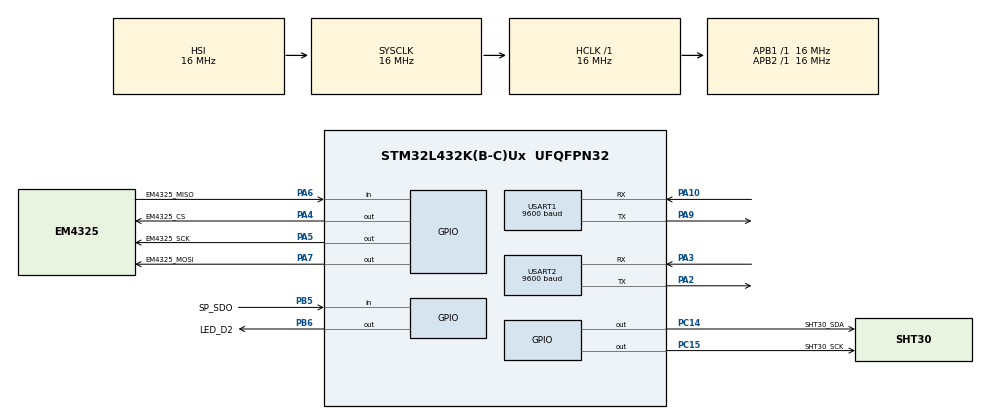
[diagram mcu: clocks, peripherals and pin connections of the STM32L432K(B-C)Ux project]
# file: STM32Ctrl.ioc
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Mcu.Family=STM32L4
Mcu.Name=STM32L432K(B-C)Ux
Mcu.Package=UFQFPN32
NVIC.PriorityGroup=NVIC_PRIORITYGROUP_4
NVIC.TIM6_DAC_IRQn=true\:0\:0\:false\:false\:true\:true\:true\:true
NVIC.USART1_IRQn=true\:0\:0\:false\:false\:true\:true\:true\:true
NVIC.USART2_IRQn=true\:0\:0\:false\:false\:true\:true\:true\:true
PA10.Mode=Asynchronous
PA10.Signal=USART1_RX
PA13\ (JTMS-SWDIO).Mode=Serial_Wire
PA13\ (JTMS-SWDIO).Signal=SYS_JTMS-SWDIO
PA14\ (JTCK-SWCLK).Mode=Serial_Wire
PA14\ (JTCK-SWCLK).Signal=SYS_JTCK-SWCLK
PA2.Mode=Asynchronous
PA2.Signal=USART2_TX
PA3.Mode=Asynchronous
PA3.Signal=USART2_RX
PA4.GPIO_Label=EM4325_CS
PA4.GPIO_PuPd=GPIO_PULLUP
PA4.PinState=GPIO_PIN_SET
PA4.Signal=GPIO_Output
PA5.GPIO_Label=EM4325_SCK
PA5.GPIO_PuPd=GPIO_PULLUP
PA5.PinState=GPIO_PIN_SET
PA5.Signal=GPIO_Output
PA6.GPIO_Label=EM4325_MISO
PA6.GPIO_PuPd=GPIO_PULLUP
PA6.Signal=GPIO_Input
PA7.GPIO_Label=EM4325_MOSI
PA7.GPIO_PuPd=GPIO_PULLUP
PA7.Signal=GPIO_Output
PA9.Mode=Asynchronous
PA9.Signal=USART1_TX
PB5.GPIO_Label=SP_SDO
PB5.GPIO_PuPd=GPIO_PULLUP
PB5.Signal=GPIO_Input
PB6.GPIO_Label=LED_D2
PB6.GPIO_PuPd=GPIO_PULLUP
PB6.Signal=GPIO_Output
PC14-OSC32_IN\ (PC14).GPIO_Label=SHT30_SDA
PC14-OSC32_IN\ (PC14).GPIO_ModeDefaultOutputPP=GPIO_MODE_OUTPUT_OD
PC14-OSC32_IN\ (PC14).GPIO_PuPd=GPIO_PULLUP
PC14-OSC32_IN\ (PC14).PinState=GPIO_PIN_SET
PC14-OSC32_IN\ (PC14).Signal=GPIO_Output
PC15-OSC32_OUT\ (PC15).GPIO_Label=SHT30_SCK
PC15-OSC32_OUT\ (PC15).Signal=GPIO_Output
ProjectManager.HeapSize=0x200
ProjectManager.StackSize=0x400
ProjectManager.TargetToolchain=MDK-ARM V5.32
RCC.ADCFreq_Value=16000000
RCC.AHBFreq_Value=16000000
RCC.APB1Freq_Value=16000000
RCC.APB1TimFreq_Value=16000000
RCC.APB2Freq_Value=16000000
RCC.APB2TimFreq_Value=16000000
RCC.CortexFreq_Value=16000000
RCC.HCLKFreq_Value=16000000
RCC.HSE_VALUE=8000000
RCC.HSI48_VALUE=48000000
RCC.HSI_VALUE=16000000
RCC.LSE_VALUE=32768
RCC.MSI_VALUE=4000000
RCC.SYSCLKFreq_VALUE=16000000
RCC.SYSCLKSource=RCC_SYSCLKSOURCE_HSI
RCC.USBFreq_Value=16000000
RCC.VCOOutputFreq_Value=32000000
TIM6.AutoReloadPreload=TIM_AUTORELOAD_PRELOAD_ENABLE
TIM6.Period=19
TIM6.Prescaler=15999
USART1.BaudRate=9600
USART1.VirtualMode-Asynchronous=VM_ASYNC
USART2.BaudRate=9600
USART2.VirtualMode-Asynchronous=VM_ASYNC
VP_TIM6_VS_ClockSourceINT.Mode=Enable_Timer
board=custom

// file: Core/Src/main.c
/* USER CODE BEGIN Header */
/**
  ******************************************************************************
  * @file           : main.c
  * @brief          : Main program body
  ******************************************************************************
  * @attention
  *
  * Copyright (c) 2024 STMicroelectronics.
  * All rights reserved.
  *
  * This software is licensed under terms that can be found in the LICENSE file
  * in the root directory of this software component.
  * If no LICENSE file comes with this software, it is provided AS-IS.
  *
  ******************************************************************************
  */
/* USER CODE END Header */
#include "main.h"
#include "tim.h"
#include "usart.h"
#include "gpio.h"

/* USER CODE BEGIN Includes */
#include "SHT3X.h"

/* USER CODE END Includes */

void SystemClock_Config(void);

/* USER CODE BEGIN 0 */
uint8_t UART2_Code_GetkPa[4] = {0x55, 0x04, 0x0d, 0x88};
uint8_t UART1_ReceiveFinish = 0;
uint8_t UART2_ReceiveFinish = 0;
uint8_t UART1_ReceiveCount = 0;
uint8_t UART2_ReceiveCount = 0;
uint8_t UART1_ReceiveBuf[10];
uint8_t UART2_ReceiveBuf[10];
uint16_t Time6Count = 0;

void HAL_UART_RxCpltCallback(UART_HandleTypeDef *huart)
{
	if (huart == &huart1)
	{
		UART1_ReceiveCount++;
		if(UART1_ReceiveCount >=5)
		{
			UART1_ReceiveFinish = 1;
			UART1_ReceiveCount = 0;
		}

//		UART1_ReceiveCount = 0;
//		HAL_UART_Transmit(&huart2, &UART1_ReceiveBuf[UART1_ReceiveCount], 1, 0xFFFF);
		HAL_UART_Receive_IT(&huart1, &UART1_ReceiveBuf[UART1_ReceiveCount], 1);
	}
	else if (huart == &huart2)
	{
		UART2_ReceiveCount++;
		if(UART2_ReceiveCount >= 8)
		{
			UART2_ReceiveFinish = 1;
			UART2_ReceiveCount = 0;
		}

//		UART2_ReceiveCount = 0;
//		HAL_UART_Transmit(&huart1, &UART2_ReceiveBuf[UART2_ReceiveCount], 1, 0xFFFF);
		HAL_UART_Receive_IT(&huart2, &UART2_ReceiveBuf[UART2_ReceiveCount], 1);
	}
}

void HAL_TIM_PeriodElapsedCallback(TIM_HandleTypeDef *htim)
{
	if(htim->Instance == TIM6)
	{
		Time6Count++;
	}
}

void SendFloatData(float TempValue)
{
	uint8_t DataBuf[6];
	if(TempValue >= 1000)
	{
		DataBuf[0] = (uint8_t)(((int)(TempValue) / 1000) + 0x30);
		DataBuf[1] = (uint8_t)(((int)(TempValue) / 100) + 0x30);
		DataBuf[2] = (uint8_t)((((int)(TempValue) % 100) / 10) + 0x30);
		DataBuf[3] = (uint8_t)(((int)(TempValue) % 10) + 0x30);
		DataBuf[4] = 0x2e;
		TempValue = TempValue - (int)TempValue;
		TempValue = TempValue * 10;
		DataBuf[5] = (uint8_t)(((int)(TempValue) % 10) + 0x30);

		HAL_UART_Transmit(&huart1, DataBuf, 6, 0xFFFF);
	}
	else if(TempValue >= 100)
	{
		DataBuf[0] = (uint8_t)(((int)(TempValue) / 100) + 0x30);
		DataBuf[1] = (uint8_t)((((int)(TempValue) % 100) / 10) + 0x30);
		DataBuf[2] = (uint8_t)(((int)(TempValue) % 10) + 0x30);
		DataBuf[3] = 0x2e;
		TempValue = TempValue - (int)TempValue;
		TempValue = TempValue * 10;
		DataBuf[4] = (uint8_t)(((int)(TempValue) % 10) + 0x30);

		HAL_UART_Transmit(&huart1, DataBuf, 5, 0xFFFF);
	}
	else if(TempValue >= 10)
	{
		DataBuf[0] = (uint8_t)(((int)(TempValue) / 10) + 0x30);
		DataBuf[1] = (uint8_t)(((int)(TempValue) % 10) + 0x30);
		DataBuf[2] = 0x2e;
		TempValue = TempValue - (int)TempValue;
		TempValue = TempValue * 10;
		DataBuf[3] = (uint8_t)(((int)(TempValue) % 10) + 0x30);

		HAL_UART_Transmit(&huart1, DataBuf, 4, 0xFFFF);
	}
	else if(TempValue >= 0)
	{
		DataBuf[0] = (uint8_t)(((int)(TempValue) % 10) + 0x30);
		DataBuf[1] = 0x2e;
		TempValue = TempValue - (int)TempValue;
		TempValue = TempValue * 10;
		DataBuf[2] = (uint8_t)(((int)(TempValue) % 10) + 0x30);

		HAL_UART_Transmit(&huart1, DataBuf, 3, 0xFFFF);
	}
	else if(TempValue > -10)
	{
		DataBuf[0] = (uint8_t)'-';
		TempValue = -TempValue;
		DataBuf[1] = (uint8_t)(((int)(TempValue) % 10) + 0x30);
		DataBuf[2] = 0x2e;
		TempValue = TempValue - (int)TempValue;
		TempValue = TempValue * 10;
		DataBuf[3] = (uint8_t)((((int)(TempValue) % 10) + 0x30));

		HAL_UART_Transmit(&huart1, DataBuf, 4, 0xFFFF);
	}
	else if(TempValue > -100)
	{
		DataBuf[0] = (uint8_t)'-';
		TempValue = -TempValue;
		DataBuf[1] = (uint8_t)(((int)(TempValue) / 10) + 0x30);
		DataBuf[2] = (uint8_t)(((int)(TempValue) % 10) + 0x30);
		DataBuf[3] = 0x2e;
		TempValue = TempValue - (int)TempValue;
		TempValue = TempValue * 10;
		DataBuf[4] = (uint8_t)(((int)(TempValue) % 10) + 0x30);

		HAL_UART_Transmit(&huart1, DataBuf, 5, 0xFFFF);
	}
}

void SPIDelay_500us()
{
	uint8_t a,b,c;
     for(c=11;c>0;c--)
        for(b=4;b>0;b--)
            for(a=89;a>0;a--);
}

void SPIDelay_50us()
{
	uint8_t a,b,c;
    for(c=1;c>0;c--)
        for(b=2;b>0;b--)
            for(a=197;a>0;a--);
}

void SendSPI(uint16_t Dat1, uint16_t Dat2, uint16_t Dat3, uint8_t * ReceiveBuf)
{
	HAL_GPIO_WritePin(EM4325_SCK_GPIO_Port, EM4325_SCK_Pin, GPIO_PIN_RESET);
	SPIDelay_500us();
	HAL_GPIO_WritePin(EM4325_CS_GPIO_Port, EM4325_CS_Pin, GPIO_PIN_RESET);
	SPIDelay_500us();

	uint8_t i = 0;
	for(i = 0; i < 16; i++)
	{
		if((Dat1 & 0x8000) != 0)
		{
			HAL_GPIO_WritePin(EM4325_MOSI_GPIO_Port, EM4325_MOSI_Pin, GPIO_PIN_SET);
		}
		else
		{
			HAL_GPIO_WritePin(EM4325_MOSI_GPIO_Port, EM4325_MOSI_Pin, GPIO_PIN_RESET);
		}
		Dat1 = Dat1 << 1;

		SPIDelay_50us();
		HAL_GPIO_WritePin(EM4325_SCK_GPIO_Port, EM4325_SCK_Pin, GPIO_PIN_SET);
		SPIDelay_50us();
		HAL_GPIO_WritePin(EM4325_SCK_GPIO_Port, EM4325_SCK_Pin, GPIO_PIN_RESET);
	}

	SPIDelay_50us();

	for(i = 0; i < 16; i++)
	{
		if((Dat1 & 0x8000) != 0)
		{
			HAL_GPIO_WritePin(EM4325_MOSI_GPIO_Port, EM4325_MOSI_Pin, GPIO_PIN_SET);
		}
		else
		{
			HAL_GPIO_WritePin(EM4325_MOSI_GPIO_Port, EM4325_MOSI_Pin, GPIO_PIN_RESET);
		}
		Dat1 = Dat1 << 1;

		SPIDelay_50us();
		HAL_GPIO_WritePin(EM4325_SCK_GPIO_Port, EM4325_SCK_Pin, GPIO_PIN_SET);
		SPIDelay_50us();
		HAL_GPIO_WritePin(EM4325_SCK_GPIO_Port, EM4325_SCK_Pin, GPIO_PIN_RESET);
	}

	SPIDelay_50us();

	for(i = 0; i < 16; i++)
	{
		if((Dat1 & 0x8000) != 0)
		{
			HAL_GPIO_WritePin(EM4325_MOSI_GPIO_Port, EM4325_MOSI_Pin, GPIO_PIN_SET);
		}
		else
		{
			HAL_GPIO_WritePin(EM4325_MOSI_GPIO_Port, EM4325_MOSI_Pin, GPIO_PIN_RESET);
		}
		Dat1 = Dat1 << 1;

		SPIDelay_50us();
		HAL_GPIO_WritePin(EM4325_SCK_GPIO_Port, EM4325_SCK_Pin, GPIO_PIN_SET);
		SPIDelay_50us();
		HAL_GPIO_WritePin(EM4325_SCK_GPIO_Port, EM4325_SCK_Pin, GPIO_PIN_RESET);
	}

	SPIDelay_50us();

	for(i = 0; i < 16; i++)
	{
		SPIDelay_50us();
		HAL_GPIO_WritePin(EM4325_SCK_GPIO_Port, EM4325_SCK_Pin, GPIO_PIN_SET);

		ReceiveBuf[i] = ReceiveBuf[i] << 1;
		GPIO_PinState SDOState = HAL_GPIO_ReadPin(EM4325_MISO_GPIO_Port, EM4325_MISO_Pin);
		if(SDOState == GPIO_PIN_RESET)
		{
			ReceiveBuf[i] = ReceiveBuf[i] & 0xfe;
		}
		else
		{
			ReceiveBuf[i] = ReceiveBuf[i] | 0x01;
		}
		SPIDelay_50us();
		HAL_GPIO_WritePin(EM4325_SCK_GPIO_Port, EM4325_SCK_Pin, GPIO_PIN_RESET);
	}

	HAL_GPIO_WritePin(EM4325_CS_GPIO_Port, EM4325_CS_Pin, GPIO_PIN_SET);
	HAL_GPIO_WritePin(EM4325_SCK_GPIO_Port, EM4325_SCK_Pin, GPIO_PIN_RESET);
}

void SendOneByte(uint8_t SendData)
{
	uint8_t i = 0;
	for(i = 0; i < 8; i++)
	{
		if((SendData & 0x80) != 0)
		{
			HAL_GPIO_WritePin(EM4325_MOSI_GPIO_Port, EM4325_MOSI_Pin, GPIO_PIN_SET);
		}
		else
		{
			HAL_GPIO_WritePin(EM4325_MOSI_GPIO_Port, EM4325_MOSI_Pin, GPIO_PIN_RESET);
		}
		SendData = SendData << 1;

		HAL_GPIO_WritePin(EM4325_SCK_GPIO_Port, EM4325_SCK_Pin, GPIO_PIN_SET);
		SPIDelay_50us();

		HAL_GPIO_WritePin(EM4325_SCK_GPIO_Port, EM4325_SCK_Pin, GPIO_PIN_RESET);
		SPIDelay_50us();
	}
}

uint8_t GetOneByte()
{
	uint8_t i = 0;
	uint8_t ReceiveData = 0x00;
	for(i = 0; i < 8; i++)
	{
		HAL_GPIO_WritePin(EM4325_SCK_GPIO_Port, EM4325_SCK_Pin, GPIO_PIN_SET);
		SPIDelay_50us();

		ReceiveData = ReceiveData << 1;
		GPIO_PinState SDOState = HAL_GPIO_ReadPin(EM4325_MISO_GPIO_Port, EM4325_MISO_Pin);
		if(SDOState == GPIO_PIN_RESET)
		{
			ReceiveData = ReceiveData & 0xfe;
		}
		else
		{
			ReceiveData = ReceiveData | 0x01;
		}

		HAL_GPIO_WritePin(EM4325_SCK_GPIO_Port, EM4325_SCK_Pin, GPIO_PIN_RESET);
		SPIDelay_50us();
	}

	return ReceiveData;
}

uint8_t GetSPIRequestStatus()
{
	HAL_GPIO_WritePin(EM4325_SCK_GPIO_Port, EM4325_SCK_Pin, GPIO_PIN_RESET);
	SPIDelay_500us();
	HAL_GPIO_WritePin(EM4325_CS_GPIO_Port, EM4325_CS_Pin, GPIO_PIN_RESET);
	SPIDelay_500us();

	SendOneByte(0xe0);
	uint8_t RequestStatus = GetOneByte();

	HAL_GPIO_WritePin(EM4325_CS_GPIO_Port, EM4325_CS_Pin, GPIO_PIN_SET);
	HAL_GPIO_WritePin(EM4325_SCK_GPIO_Port, EM4325_SCK_Pin, GPIO_PIN_RESET);

	return RequestStatus;
}

uint8_t GetSPIBoot()
{
	HAL_GPIO_WritePin(EM4325_SCK_GPIO_Port, EM4325_SCK_Pin, GPIO_PIN_RESET);
	SPIDelay_500us();
	HAL_GPIO_WritePin(EM4325_CS_GPIO_Port, EM4325_CS_Pin, GPIO_PIN_RESET);
	SPIDelay_500us();

	SendOneByte(0xe1);
	uint8_t RequestStatus = GetOneByte();

	HAL_GPIO_WritePin(EM4325_CS_GPIO_Port, EM4325_CS_Pin, GPIO_PIN_SET);
	HAL_GPIO_WritePin(EM4325_SCK_GPIO_Port, EM4325_SCK_Pin, GPIO_PIN_RESET);
	return RequestStatus;
}

void GetSensorData(uint8_t * ReceiveBuf)
{
	HAL_GPIO_WritePin(EM4325_SCK_GPIO_Port, EM4325_SCK_Pin, GPIO_PIN_RESET);
	SPIDelay_500us();
	HAL_GPIO_WritePin(EM4325_CS_GPIO_Port, EM4325_CS_Pin, GPIO_PIN_RESET);
	SPIDelay_500us();

	SendOneByte(0xe4);

	HAL_Delay(30);

	uint8_t i = 0;
	for(i = 0; i < 9; i++)
	{
		ReceiveBuf[i] = GetOneByte();
	}

	HAL_GPIO_WritePin(EM4325_CS_GPIO_Port, EM4325_CS_Pin, GPIO_PIN_SET);
	HAL_GPIO_WritePin(EM4325_SCK_GPIO_Port, EM4325_SCK_Pin, GPIO_PIN_RESET);
}

void GetReqRN(uint8_t * ReceiveBuf)
{
	HAL_GPIO_WritePin(EM4325_SCK_GPIO_Port, EM4325_SCK_Pin, GPIO_PIN_RESET);
	SPIDelay_500us();
	HAL_GPIO_WritePin(EM4325_CS_GPIO_Port, EM4325_CS_Pin, GPIO_PIN_RESET);
	SPIDelay_500us();

	SendOneByte(0xF0);
	uint8_t RequestStatus1 = GetOneByte();
	uint8_t RequestStatus2 = GetOneByte();
	uint8_t RequestStatus3 = GetOneByte();
	ReceiveBuf[0] = RequestStatus1;
	ReceiveBuf[1] = RequestStatus2;
	ReceiveBuf[2] = RequestStatus3;

	HAL_GPIO_WritePin(EM4325_CS_GPIO_Port, EM4325_CS_Pin, GPIO_PIN_SET);
	HAL_GPIO_WritePin(EM4325_SCK_GPIO_Port, EM4325_SCK_Pin, GPIO_PIN_RESET);
}

void GetReadWord(uint8_t Addr, uint8_t * ReceiveBuf)
{
	HAL_GPIO_WritePin(EM4325_SCK_GPIO_Port, EM4325_SCK_Pin, GPIO_PIN_RESET);
	SPIDelay_500us();
	HAL_GPIO_WritePin(EM4325_CS_GPIO_Port, EM4325_CS_Pin, GPIO_PIN_RESET);
	SPIDelay_500us();

	SendOneByte(0xE7);

	SendOneByte(Addr);
	SPIDelay_500us();
	SPIDelay_500us();

	uint8_t RequestStatus1 = GetOneByte();
	SPIDelay_500us();

	uint8_t RequestStatus2 = GetOneByte();
	SPIDelay_500us();

	uint8_t RequestStatus3 = GetOneByte();
	SPIDelay_500us();

	ReceiveBuf[0] = RequestStatus1;
	ReceiveBuf[1] = RequestStatus2;
	ReceiveBuf[2] = RequestStatus3;

	HAL_GPIO_WritePin(EM4325_CS_GPIO_Port, EM4325_CS_Pin, GPIO_PIN_SET);
	HAL_GPIO_WritePin(EM4325_SCK_GPIO_Port, EM4325_SCK_Pin, GPIO_PIN_RESET);
}

uint8_t SetWriteWord(uint8_t Addr, uint16_t WordData)
{
	HAL_GPIO_WritePin(EM4325_SCK_GPIO_Port, EM4325_SCK_Pin, GPIO_PIN_RESET);
	SPIDelay_500us();
	HAL_GPIO_WritePin(EM4325_CS_GPIO_Port, EM4325_CS_Pin, GPIO_PIN_RESET);
	SPIDelay_500us();

	SendOneByte(0xE8);

	SendOneByte(Addr);
	SendOneByte(WordData >> 8);
	SendOneByte(WordData);

	uint8_t RequestStatus1 = GetOneByte();

	HAL_GPIO_WritePin(EM4325_CS_GPIO_Port, EM4325_CS_Pin, GPIO_PIN_SET);
	HAL_GPIO_WritePin(EM4325_SCK_GPIO_Port, EM4325_SCK_Pin, GPIO_PIN_RESET);

	return RequestStatus1;
}

void GetReadPage(uint8_t PageNum, uint8_t * ReceiveBuf)
{
	HAL_GPIO_WritePin(EM4325_SCK_GPIO_Port, EM4325_SCK_Pin, GPIO_PIN_RESET);
	SPIDelay_500us();
	HAL_GPIO_WritePin(EM4325_CS_GPIO_Port, EM4325_CS_Pin, GPIO_PIN_RESET);
	SPIDelay_500us();

	SendOneByte(0xe9);
	SendOneByte(PageNum | 0x80);

	SPIDelay_500us();
	SPIDelay_500us();
	HAL_Delay(1);
	HAL_Delay(1);

	uint8_t i = 0;
	for(i = 0; i < 9; i++)
	{
		ReceiveBuf[i] = GetOneByte();
	}

	HAL_GPIO_WritePin(EM4325_CS_GPIO_Port, EM4325_CS_Pin, GPIO_PIN_SET);
	HAL_GPIO_WritePin(EM4325_SCK_GPIO_Port, EM4325_SCK_Pin, GPIO_PIN_RESET);
}

/* USER CODE END 0 */

int main(void)
{
  /* USER CODE BEGIN 1 */
	uint8_t ReceiveBuf[16];
	uint8_t RequestStatus;
	uint16_t RequestStatus16;
  /* USER CODE END 1 */

  /* MCU Configuration--------------------------------------------------------*/

  /* Reset of all peripherals, Initializes the Flash interface and the Systick. */
  HAL_Init();

  /* Configure the system clock */
  SystemClock_Config();

  /* Initialize all configured peripherals */
  MX_GPIO_Init();
  MX_USART1_UART_Init();
  MX_USART2_UART_Init();
  MX_TIM6_Init();
  /* USER CODE BEGIN 2 */
	HAL_UART_Receive_IT(&huart1, &UART1_ReceiveBuf[UART1_ReceiveCount], 1);
	HAL_UART_Receive_IT(&huart2, &UART2_ReceiveBuf[UART2_ReceiveCount], 1);

	Init_SHT3X();
	HAL_TIM_Base_Start_IT(&htim6);
  //HAL_TIM_Base_Start(&htim6);
  /* USER CODE END 2 */

  /* Infinite loop */
  while (1)
  {

    /* USER CODE BEGIN 3 */
		if(Time6Count >= 25)
		{
			Time6Count = 0;
			HAL_GPIO_TogglePin(LED_D2_GPIO_Port, LED_D2_Pin);

			float pTemperature = 0;
			float pHumidity = 0;
			SHT30_read_result(&pTemperature, &pHumidity);

			HAL_UART_Transmit(&huart1, (uint8_t*)"Temp:", 5, 0xFFFF);
			SendFloatData(pTemperature);
			HAL_UART_Transmit(&huart1, (uint8_t*)", Humi:", 7, 0xFFFF);
			SendFloatData(pHumidity);

			if(UART1_ReceiveFinish == 1)
			{
				UART1_ReceiveFinish = 0;
				HAL_UART_Transmit(&huart1, (uint8_t*)"ReceiveFinish1", 14, 0xFFFF);
			}

			if(UART2_ReceiveFinish == 1)
			{
				UART2_ReceiveFinish = 0;
				float kPa = UART2_ReceiveBuf[5];
				kPa = kPa * 256 * 256;
				kPa = kPa + UART2_ReceiveBuf[4] * 256;
				kPa = kPa + UART2_ReceiveBuf[3];
				kPa = kPa / 1000;

				HAL_UART_Transmit(&huart1, (uint8_t*)", kPa:", 6, 0xFFFF);
				SendFloatData(kPa);
			}

			UART2_ReceiveCount = 0;
			HAL_UART_Transmit(&huart2, UART2_Code_GetkPa, 4, 0xFFFF);

			//EM4325
//			RequestStatus = GetSPIRequestStatus();
//			HAL_UART_Transmit(&huart1, &RequestStatus, 1, 0xFFFF);
//			HAL_Delay(1);

//			RequestStatus = GetSPIBoot();
//			HAL_UART_Transmit(&huart1, &RequestStatus, 1, 0xFFFF);
//			HAL_Delay(1);
//
//			GetReqRN(ReceiveBuf);
//			HAL_UART_Transmit(&huart1, ReceiveBuf, 3, 0xFFFF);
//			HAL_Delay(1);
		}
		HAL_Delay(1);
  }
  /* USER CODE END 3 */
}

void SystemClock_Config(void)
{
  RCC_OscInitTypeDef RCC_OscInitStruct = {0};
  RCC_ClkInitTypeDef RCC_ClkInitStruct = {0};

  /** Configure the main internal regulator output voltage
  */
  if (HAL_PWREx_ControlVoltageScaling(PWR_REGULATOR_VOLTAGE_SCALE1) != HAL_OK)
  {
    Error_Handler();
  }

  /** Initializes the RCC Oscillators according to the specified parameters
  * in the RCC_OscInitTypeDef structure.
  */
  RCC_OscInitStruct.OscillatorType = RCC_OSCILLATORTYPE_HSI;
  RCC_OscInitStruct.HSIState = RCC_HSI_ON;
  RCC_OscInitStruct.HSICalibrationValue = RCC_HSICALIBRATION_DEFAULT;
  RCC_OscInitStruct.PLL.PLLState = RCC_PLL_NONE;
  if (HAL_RCC_OscConfig(&RCC_OscInitStruct) != HAL_OK)
  {
    Error_Handler();
  }

  /** Initializes the CPU, AHB and APB buses clocks
  */
  RCC_ClkInitStruct.ClockType = RCC_CLOCKTYPE_HCLK|RCC_CLOCKTYPE_SYSCLK
                              |RCC_CLOCKTYPE_PCLK1|RCC_CLOCKTYPE_PCLK2;
  RCC_ClkInitStruct.SYSCLKSource = RCC_SYSCLKSOURCE_HSI;
  RCC_ClkInitStruct.AHBCLKDivider = RCC_SYSCLK_DIV1;
  RCC_ClkInitStruct.APB1CLKDivider = RCC_HCLK_DIV1;
  RCC_ClkInitStruct.APB2CLKDivider = RCC_HCLK_DIV1;

  if (HAL_RCC_ClockConfig(&RCC_ClkInitStruct, FLASH_LATENCY_0) != HAL_OK)
  {
    Error_Handler();
  }
}

void Error_Handler(void)
{
  __disable_irq();
  while (1)
  {
  }
}
